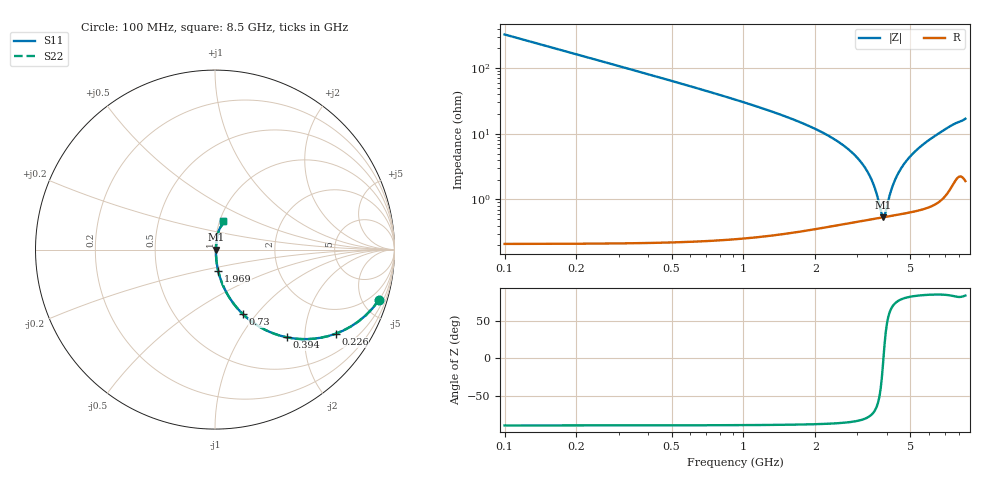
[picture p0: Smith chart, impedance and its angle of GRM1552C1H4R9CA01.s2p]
!Murata Part Number: GRM1552C1H4R9CA01
!These Parameters are Measured in Series Mode Connection
!Data Generated on Mar 30, 2021
!  o--ll--o
!Port1  Port2
!  o------o
!Operation Temp=25[degC], DC Bias Voltage=0[V]
!Freq. Start=100[MHz] Stop=9[GHz] 401[Steps]
# Hz S RI R 50
!Freq.(Hz) S11(Real) S11(Imag) S21(Real) S21(Imag) S12(Real) S12(Imag) S22(Real) S22(Imag)
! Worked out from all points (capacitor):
!   401 points, 100 MHz to 8.5 GHz, reference 50 ohm
!   read as one part in series: C = 4.9 pF near 142 MHz
!   lowest |Z| = 537 mohm at 3.859 GHz (marker M1)
!   series resonance near 3.858 GHz, so ESL is about 350 pH
!   S11 on the Smith chart (normalised r, x): 100 MHz: 1.00, -6.49; 226 MHz: 1.00, -2.86; 394 MHz: 1.00, -1.63; 730 MHz: 1.00, -0.86; 1.969 GHz: 1.01, -0.24; 8.5 GHz: 1.04, +0.34
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1e8  0.9132 -0.2813  0.0868 0.2813  0.0868 0.2813  0.9132 -0.2813
2.26e8  0.672 -0.4687  0.328 0.4687  0.328 0.4687  0.672 -0.4687
3.94e8  0.3997 -0.4885  0.6003 0.4885  0.6003 0.4885  0.3997 -0.4885
5.41e8  0.2579 -0.4356  0.7421 0.4356  0.7421 0.4356  0.2579 -0.4356
7.3e8  0.1566 -0.3607  0.8434 0.3607  0.8434 0.3607  0.1566 -0.3607
1.045e9  0.0784 -0.2644  0.9216 0.2644  0.9216 0.2644  0.0784 -0.2644
1.507e9  0.0348 -0.1753  0.9652 0.1753  0.9652 0.1753  0.0348 -0.1753
1.969e9  0.0179 -0.119  0.9821 0.119  0.9821 0.119  0.0179 -0.119
2.914e9  0.00672 -0.0472  0.9933 0.0472  0.9933 0.0472  0.00672 -0.0472
3.187e9  0.00577 -0.032  0.9942 0.032  0.9942 0.032  0.00577 -0.032
3.418e9  0.00536 -0.0202  0.9946 0.0202  0.9946 0.0202  0.00536 -0.0202
3.586e9  0.00525 -0.0122  0.9947 0.0122  0.9947 0.0122  0.00525 -0.0122
3.796e9  0.00529 -0.0027  0.9947 0.0027  0.9947 0.0027  0.00529 -0.0027
3.859e9  0.00534 5.24e-05  0.9947 -5.24e-05  0.9947 -5.24e-05  0.00534 5.24e-05
3.922e9  0.0054 0.00276  0.9946 -0.00276  0.9946 -0.00276  0.0054 0.00276
4.153e9  0.00574 0.0124  0.9943 -0.0124  0.9943 -0.0124  0.00574 0.0124
4.3e9  0.00605 0.0182  0.994 -0.0182  0.994 -0.0182  0.00605 0.0182
4.531e9  0.00665 0.0272  0.9933 -0.0272  0.9933 -0.0272  0.00665 0.0272
4.846e9  0.0077 0.0389  0.9923 -0.0389  0.9923 -0.0389  0.0077 0.0389
5.707e9  0.0119 0.0689  0.9881 -0.0689  0.9881 -0.0689  0.0119 0.0689
7.114e9  0.0259 0.1166  0.9741 -0.1166  0.9741 -0.1166  0.0259 0.1166
8.5e9  0.0448 0.1579  0.9552 -0.1579  0.9552 -0.1579  0.0448 0.1579
